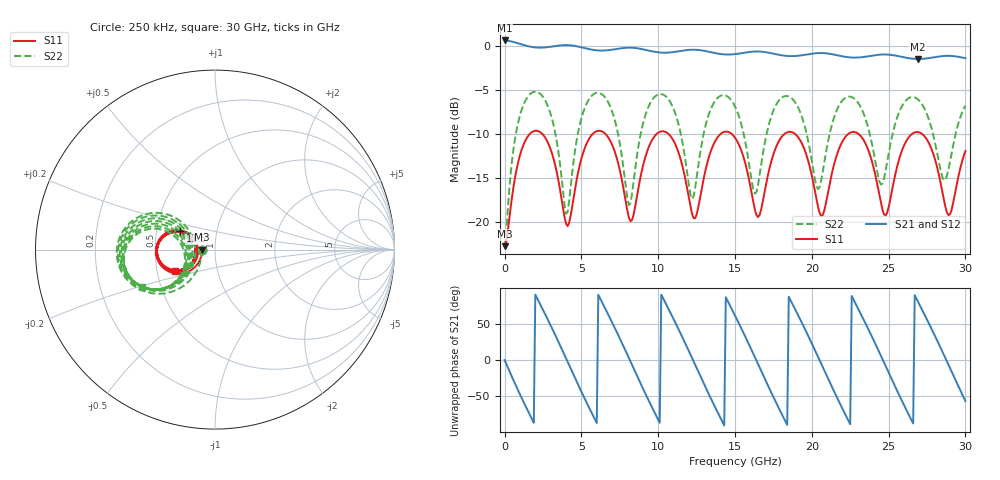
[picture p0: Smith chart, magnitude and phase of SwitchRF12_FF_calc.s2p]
! Port 1 = P1 P2
! Port 2 = P2 P2
# hz S ri R 50
! freq  reS11  imS11  reS21  imS21  reS12  imS12  reS22  imS22
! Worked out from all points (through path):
!   301 points, 250 kHz to 30 GHz, reference 50 ohm
!   highest |S21| = 0.61 dB at 250 kHz (marker M1); lowest = -1.5 dB at 26.9 GHz (marker M2)
!   lowest |S11| = -22.8 dB at 250 kHz (marker M3), VSWR 1.16, Z = 43.2 - j0.00527 ohm
!   |S11| at or under -10 dB: 14.76 GHz to 18.24 GHz (3.48 GHz wide, 21.1 % of centre); 18.89 GHz to 22.4 GHz (3.507 GHz wide, 17 % of centre); 23.02 GHz to 26.55 GHz (3.529 GHz wide, 14.2 % of centre)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
!   |S22| runs from -22.8 to -5.2 dB; largest |S21 - S12| = 0
!   S11 on the Smith chart (normalised r, x): 250 kHz: 0.86, -0.00; 11.5 GHz: 0.66, +0.14; 30 GHz: 0.62, -0.16
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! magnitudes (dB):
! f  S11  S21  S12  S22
! 250 kHz  -22.8  0.6  0.6  -22.8
! 1.4 GHz  -10.6  0.0  0.0  -6.1
! 2.9 GHz  -11.3  -0.1  -0.1  -7.3
! 4 GHz  -20.2  0.1  0.1  -19.1
! 5.1 GHz  -12.2  -0.2  -0.2  -7.7
! 6.8 GHz  -10.6  -0.5  -0.5  -6.6
! 8.1 GHz  -19.6  -0.2  -0.2  -18.1
! 10.1 GHz  -9.8  -0.8  -0.8  -5.5
! 11.5 GHz  -13.2  -0.6  -0.6  -10.3
! 12.2 GHz  -19.1  -0.4  -0.4  -17.4
! 13.5 GHz  -11.6  -0.8  -0.8  -6.9
! 15.1 GHz  -10.7  -0.9  -0.9  -7.3
! 16.3 GHz  -18.7  -0.6  -0.6  -16.8
! 18.2 GHz  -10.1  -1.1  -1.1  -5.8
! 20.1 GHz  -15.6  -0.9  -0.9  -14.1
! 20.7 GHz  -19.3  -0.8  -0.8  -14.5
! 22.3 GHz  -10.1  -1.3  -1.3  -5.8
! 24.5 GHz  -17.9  -1.0  -1.0  -15.8
! 25.1 GHz  -17.6  -1.0  -1.0  -11.4
! 26.9 GHz  -9.8  -1.5  -1.5  -6.1
! 28.6 GHz  -17.5  -1.2  -1.2  -15.3
! 30 GHz  -12.0  -1.4  -1.4  -6.8
